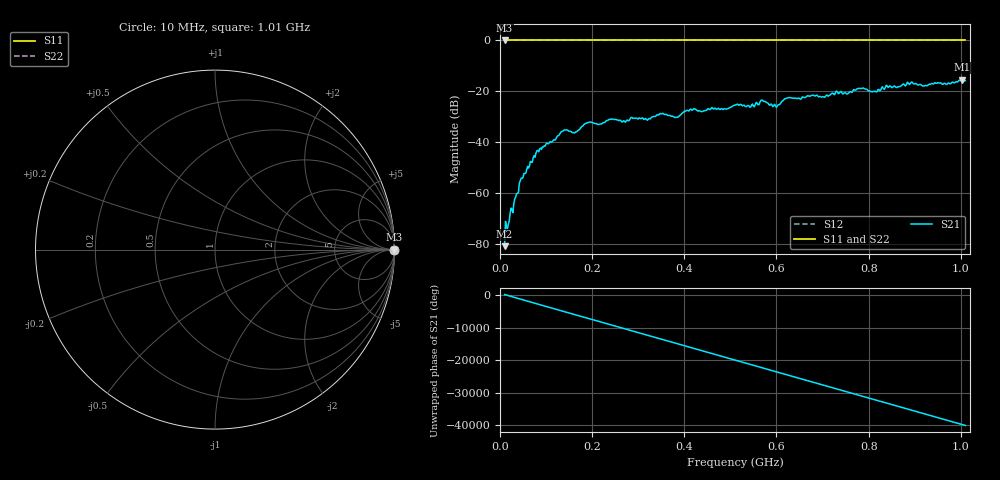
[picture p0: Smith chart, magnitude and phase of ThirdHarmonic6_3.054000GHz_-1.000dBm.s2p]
! 8/17/2025 8:52:55 AM
! C:\ANRITSUVNA\TEMP\TEMP.S2P
! CHANNEL.1
! TR.MEASUREMENT
! RAW.DATA
! RF.CORRECTION.OFF
! AVERAGING.OFF
! IF.BANDWIDTH: 5KHZ
! SWEEPTYPE:  FREQ.SWEEP(Linear)
! Reference Plane Port Info
! PORT:  PORT1  PORT2
! DISTANCE:  0  m  0  m
! TIME:  0  s  0  s
! PHASE.OFFSET:  0  deg.  0  deg.
! LOSS:  0  dB  0  dB
! REF.LOSS:  0  dB  0  dB
! REF.FREQ:  0  Hz  0  Hz
! Power Info
! POWER:  -20  dBm  -20  dBm
! EFF.POWER:  -20  dBm  -20  dBm
! SOURCE.ATTEN:  0  dB  0  dB
! TEST.ATTEN:  0  dB  0  dB
# GHZ S RI R 50.0
! FREQ.GHZ  S11RE  S11IM  S21RE  S21IM  S12RE  S12IM  S22RE  S22IM
!; PortSelection: Port_12
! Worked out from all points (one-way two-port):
!   501 points, 10 MHz to 1.01 GHz, reference 50 ohm
!   highest |S21| = -15.33 dB at 1.002 GHz (marker M1); lowest = -80.7 dB at 10 MHz (marker M2)
!   lowest |S11| = 0.0 dB at 10 MHz (marker M3)
!   |S11| at or under -10 dB: nowhere
!   |S22| runs from 0.0 to 0.0 dB; largest |S21 - S12| = 1.2
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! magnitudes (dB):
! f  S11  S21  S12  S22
! 10 MHz  0.0  -80.7  0.0  0.0
! 46 MHz  0.0  -54.0  0.0  0.0
! 78 MHz  0.0  -44.2  0.0  0.0
! 136 MHz  0.0  -35.6  0.0  0.0
! 162 MHz  0.0  -36.3  0.0  0.0
! 178 MHz  0.0  -33.7  0.0  0.0
! 240 MHz  0.0  -31.0  0.0  0.0
! 322 MHz  0.0  -30.9  0.0  0.0
! 344 MHz  0.0  -29.3  0.0  0.0
! 382 MHz  0.0  -30.1  0.0  0.0
! 410 MHz  0.0  -27.7  0.0  0.0
! 510 MHz  0.0  -25.4  0.0  0.0
! 548 MHz  0.0  -25.0  0.0  0.0
! 570 MHz  0.0  -23.5  0.0  0.0
! 602 MHz  0.0  -25.6  0.0  0.0
! 622 MHz  0.0  -22.7  0.0  0.0
! 678 MHz  0.0  -21.5  0.0  0.0
! 784 MHz  0.0  -18.9  0.0  0.0
! 814 MHz  0.0  -20.0  0.0  0.0
! 844 MHz  0.0  -18.2  0.0  0.0
! 1.002 GHz  0.0  -15.3  0.0  0.0
! 1.01 GHz  0.0  -15.8  0.0  0.0
